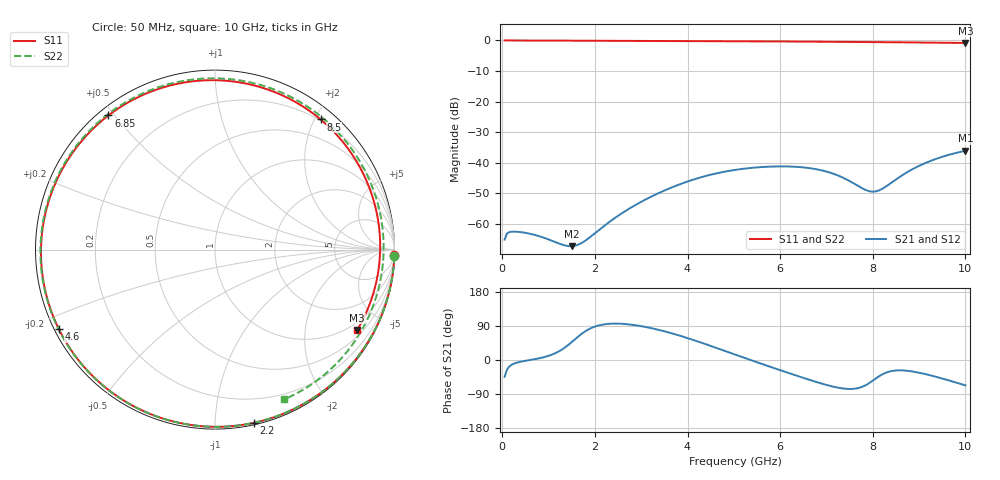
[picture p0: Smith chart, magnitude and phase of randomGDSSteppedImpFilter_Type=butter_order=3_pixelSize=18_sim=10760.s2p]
! freq	dB(S11)	phase(S11)	dB(S12)	phase(S12)
!  dB(S21)	phase(S21)	dB(S22)	phase(S22)
!S-par simulation data
#  GHz  S  DB  R 50
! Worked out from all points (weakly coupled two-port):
!   200 points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, 50 MHz to 10 GHz, reference 50 ohm
!   highest |S21| = -36.05 dB at 10 GHz (marker M1); lowest = -67.2 dB at 1.5 GHz (marker M2)
!   lowest |S11| = -0.8 dB at 10 GHz (marker M3), VSWR 21.28, Z = 35.2 - j184 ohm
!   |S11| at or under -10 dB: nowhere
!   |S22| runs from -0.7 to 0.0 dB; largest |S21 - S12| = 0
!   S11 on the Smith chart (normalised r, x): 50 MHz: 0, -62; 2.2 GHz: 0.01, -1.25; 4.6 GHz: 0.01, -0.24; 6.85 GHz: 0.03, +0.48; 8.5 GHz: 0.18, +2.09; 10 GHz: 0.70, -3.68
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0.05  -0.00 -1.8  -65.08 -44.4  -65.08 -44.4  -0.00 -2.1
0.15  -0.00 -5.5  -62.62 -17.4  -62.62 -17.4  -0.00 -6.3
0.35  -0.01 -12.8  -62.54 -5.8  -62.54 -5.8  -0.01 -14.7
0.9  -0.04 -32.6  -64.47 7.5  -64.47 7.5  -0.04 -37.4
1.5  -0.07 -53.7  -67.21 47.4  -67.21 47.4  -0.08 -61.4
1.75  -0.08 -62.3  -65.83 72.4  -65.83 72.4  -0.09 -71.1
2.2  -0.09 -77.4  -60.57 94.1  -60.57 94.1  -0.11 -88.3
2.8  -0.12 -96.9  -54.42 93.0  -54.42 93.0  -0.13 -110.6
3.4  -0.14 -115.8  -49.71 78.8  -49.71 78.8  -0.16 -132.4
4  -0.17 -134.5  -46.08 57.8  -46.08 57.8  -0.20 -154.2
4.6  -0.21 -153.1  -43.51 32.9  -43.51 32.9  -0.23 -176.4
5.05  -0.24 -167.4  -42.24 13.3  -42.24 13.3  -0.27 166.3
5.85  -0.30 166.0  -41.18 -20.7  -41.18 -20.7  -0.33 133.4
6.7  -0.39 134.5  -41.86 -55.0  -41.86 -55.0  -0.40 94.5
6.85  -0.40 128.5  -42.28 -60.6  -42.28 -60.6  -0.41 87.2
7.4  -0.46 105.0  -45.14 -75.7  -45.14 -75.7  -0.45 59.5
7.95  -0.53 79.1  -49.33 -58.8  -49.33 -58.8  -0.49 31.2
8.35  -0.58 58.8  -47.04 -30.8  -47.04 -30.8  -0.52 10.7
8.5  -0.59 50.9  -45.42 -27.6  -45.42 -27.6  -0.53 3.2
9.25  -0.69 10.5  -39.34 -40.6  -39.34 -40.6  -0.62 -32.7
9.6  -0.75 -8.4  -37.55 -52.3  -37.55 -52.3  -0.67 -48.3
10  -0.82 -29.4  -36.05 -67.0  -36.05 -67.0  -0.73 -65.1
